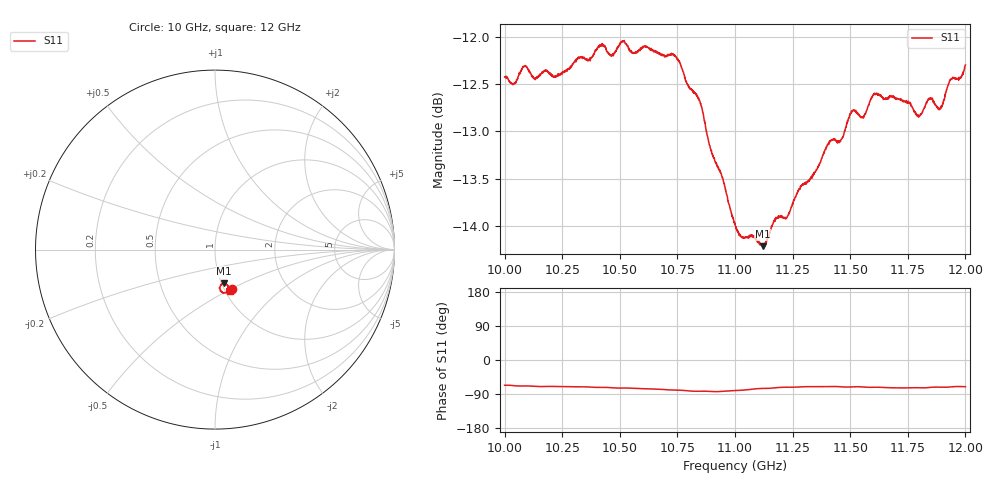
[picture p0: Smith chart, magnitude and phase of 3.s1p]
[Version] 2.0
! Rohde & Schwarz Vector Network Analyzer
! Rohde-Schwarz,ZNL20-2Port,1323001220200009,1.71.1.10-23.02.1.238
! Port Assignments:
! Nominal Port -> Actual Test Port
!  1 -> 1
! Created: GMT 2024-09-04 14:19:26
# Hz S DB R 50
[Number of Ports] 1
! freq[Hz]  S11[mag dB]  S11[ang]
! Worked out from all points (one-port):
!   2001 points, 10 GHz to 12 GHz, reference 50 ohm
!   lowest |S11| = -14.2 dB at 11.12 GHz (marker M1), VSWR 1.48, Z = 51.4 - j20.1 ohm
!   |S11| at or under -10 dB: start of sweep to end of sweep
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[Number of Frequencies] 28
[Network Data]
1e10  -12.43 -66.6
1.0041e10  -12.49 -67.7
1.0087e10  -12.31 -68.5
1.0131e10  -12.44 -69.2
1.025e10  -12.38 -70.2
1.0413e10  -12.09 -72.3
1.0463e10  -12.21 -73.1
1.05e10  -12.07 -74.1
1.075e10  -12.24 -79.6
1.0846e10  -12.68 -82.5
1.0913e10  -13.32 -83.3
1.1e10  -13.97 -80.7
1.1028e10  -14.12 -79.8
1.112e10  -14.21 -74.9
1.1175e10  -13.92 -73.4
1.1223e10  -13.91 -71.9
1.125e10  -13.76 -71.9
1.141e10  -13.10 -70.3
1.1462e10  -13.08 -70.8
1.15e10  -12.81 -71.2
1.1557e10  -12.85 -71.3
1.1609e10  -12.60 -72.0
1.175e10  -12.69 -73.5
1.1794e10  -12.82 -73.3
1.1847e10  -12.66 -72.3
1.189e10  -12.76 -71.7
1.1935e10  -12.46 -71.0
1.2e10  -12.30 -70.4
[End]
